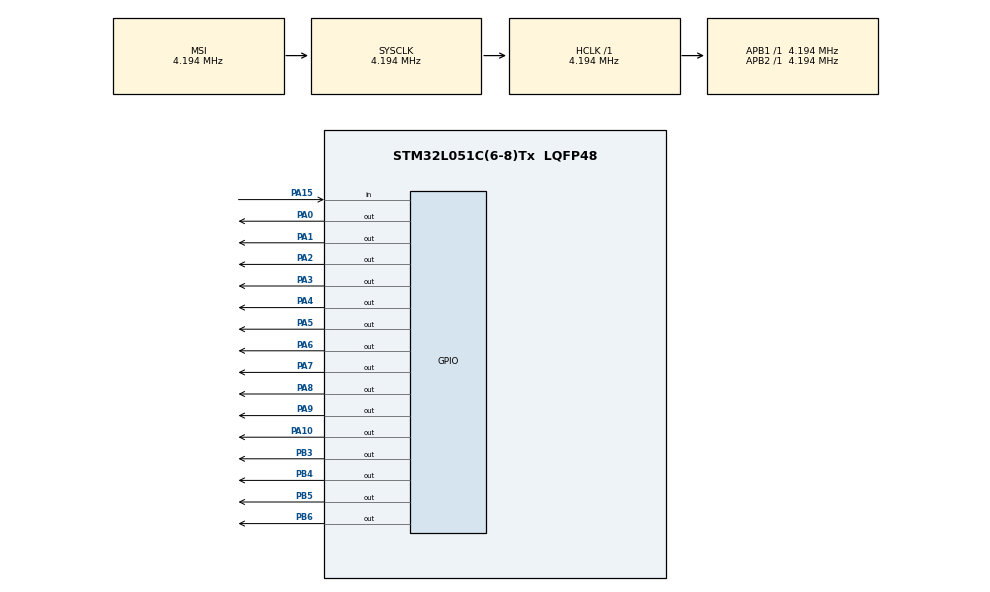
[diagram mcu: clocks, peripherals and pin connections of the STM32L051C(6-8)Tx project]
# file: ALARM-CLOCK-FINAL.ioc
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Mcu.Family=STM32L0
Mcu.Name=STM32L051C(6-8)Tx
Mcu.Package=LQFP48
PA0.Signal=GPIO_Output
PA1.Signal=GPIO_Output
PA10.Signal=GPIO_Output
PA13.Mode=Serial_Wire
PA13.Signal=SYS_SWDIO
PA14.Mode=Serial_Wire
PA14.Signal=SYS_SWCLK
PA15.GPIO_PuPd=GPIO_NOPULL
PA15.Signal=GPIO_Input
PA2.Signal=GPIO_Output
PA3.Signal=GPIO_Output
PA4.Signal=GPIO_Output
PA5.Signal=GPIO_Output
PA6.Signal=GPIO_Output
PA7.Signal=GPIO_Output
PA8.Signal=GPIO_Output
PA9.Signal=GPIO_Output
PB3.Signal=GPIO_Output
PB4.Signal=GPIO_Output
PB5.Signal=GPIO_Output
PB6.Signal=GPIO_Output
PC14-OSC32_IN.Mode=LSE-External-Oscillator
PC14-OSC32_IN.Signal=RCC_OSC32_IN
PC15-OSC32_OUT.Mode=LSE-External-Oscillator
PC15-OSC32_OUT.Signal=RCC_OSC32_OUT
ProjectManager.HeapSize=0x200
ProjectManager.StackSize=0x400
ProjectManager.TargetToolchain=STM32CubeIDE
RCC.AHBFreq_Value=4194000
RCC.APB1Freq_Value=4194000
RCC.APB1TimFreq_Value=4194000
RCC.APB2Freq_Value=4194000
RCC.APB2TimFreq_Value=4194000
RCC.HCLKFreq_Value=4194000
RCC.HSE_VALUE=8000000
RCC.HSI16_VALUE=16000000
RCC.HSI_VALUE=16000000
RCC.MSIClockRange=RCC_MSIRANGE_6
RCC.MSI_VALUE=4194000
RCC.RTCClockSelection=RCC_RTCCLKSOURCE_LSE
RCC.SYSCLKFreq_VALUE=4194000
RCC.VCOOutputFreq_Value=48000000
VP_RTC_VS_RTC_Activate.Mode=RTC_Enabled
board=custom

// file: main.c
/* USER CODE BEGIN Header */
/**
  ******************************************************************************
  * @file           : main.c
  * @brief          : Alarm Clock
  * @version		: 1.09
  * @author			: Tim White
  * @date			: 2022-03-19
  ******************************************************************************
  * @attention
  *
  * Copyright (c) 2022 STMicroelectronics.
  * All rights reserved.
  *
  * This software is licensed under terms that can be found in the LICENSE file
  * in the root directory of this software component.
  * If no LICENSE file comes with this software, it is provided AS-IS.
  *
  ******************************************************************************
  */

/* USER CODE END Header */
#include "main.h"

 RTC_HandleTypeDef hrtc;

void SystemClock_Config(void);
static void MX_GPIO_Init(void);
static void MX_RTC_Init(void);
/* USER CODE BEGIN PFP */
void main_menu();
void set_time();
/* USER CODE END PFP */

int main(void)
{
  /* USER CODE BEGIN 1 */
	RTC_TimeTypeDef currentTime;  	// Get time structure
	RTC_DateTypeDef currentDate;   	// Get date structure

	unsigned int decimal_numbers[10] = {
			0b00001100, // 0
			0b10001100, // 1
			0b01001100, // 2
			0b11001100, // 3
			0b00101100, // 4
			0b10101100, // 5
			0b01101100, // 6
			0b11101100, // 7
			0b00011100, // 8
			0b10011100  // 9
	};
	unsigned int hacky_hex[60] = {
			0x00,0x01,0x02,0x03,0x04,0x05,0x06,0x07,0x08,0x09,
			0x10,0x11,0x12,0x13,0x14,0x15,0x16,0x17,0x18,0x19,
			0x20,0x21,0x22,0x23,0x24,0x25,0x26,0x27,0x28,0x29,
			0x30,0x31,0x32,0x33,0x34,0x35,0x36,0x37,0x38,0x39,
			0x40,0x41,0x42,0x43,0x44,0x45,0x46,0x47,0x48,0x49,
			0x50,0x51,0x52,0x53,0x54,0x55,0x56,0x57,0x58,0x59
	};

	unsigned int btn_pressed=0;
	unsigned int byte=0;
	unsigned int prev_byte=0;

	int rem=0;
	int digit_count=0;
	int mu=0;
	int num2=0;

	int current_hours=0;
	int current_minutes=0;
	int current_seconds=0;
	int last_seconds=0;

	int menu_text=0;
	int scroll_y_index=0;
	int scroll_x_index=0;

	int hour_digit1=0;
	int hour_digit2=0;
	int minute_digit1=0;
	int minute_digit2=0;

	int alarm_hour=0;
	int alarm_minutes=0;

	int snoozed=0;
	int alarming=0;
	int mode;
  /* USER CODE END 1 */

  /* MCU Configuration--------------------------------------------------------*/

  /* Reset of all peripherals, Initializes the Flash interface and the Systick. */
  HAL_Init();

  /* Configure the system clock */
  SystemClock_Config();

  /* Initialize all configured peripherals */
  MX_GPIO_Init();
  MX_RTC_Init();
  /* USER CODE BEGIN 2 */

  /**********************************************************/
  // Display functions:
  //	- Write(char i): Stage write data
  //	- Command(char i): Stage write command
  //	- Set_Position(char i): Goto display location
  //	- Init_Display(): Wake, function set, cursor, clear
  //	- Send(): Send data or command from GPIOA
  //	- Clear_Home(): Clear display and goto home position

  unsigned char reverse(unsigned char x) {
	  // Reverse incoming char b
	  // example: 1100 -> 0011
     x = (x & 0xF0) >> 4 | (x & 0x0F) << 4;
     x = (x & 0xCC) >> 2 | (x & 0x33) << 2;
     x = (x & 0xAA) >> 1 | (x & 0x55) << 1;
     return x;
  }

  void send()
  {
	  // Falling-edge triggered Display control
	  HAL_GPIO_WritePin(GPIOA, GPIO_PIN_8, 1); // Enable pin
	  HAL_GPIO_WritePin(GPIOA, GPIO_PIN_8, 0); // Clock enable: falling edge
	  HAL_Delay(5);
  }

  void write(char i)
  {
	  // Set write mode, load char i into GPIOA pins, send.
	  GPIOA->ODR = 0x00; // Clear GPIOA
	  mode=0x400; // Write Data Mode
	  GPIOA->ODR = i | mode;
	  send();
  }

  void command(char i)
  {
	  // Set command mode & write mode, load char i into GPIOA pins, send.
	  mode=0x000; // Write Command Mode
	  GPIOA->ODR = i | mode;
	  send();
  }

  void set_position(char i)
  {
	i = reverse(i);
	command(0b00000001|i);

	/* Driver function to test above function */
  }

  void init_display()
  {
	command(0b00110000); // wake display
	command(0b00110000); // wake display
	command(0b00110000); // wake display
	HAL_Delay(100);
	command(0b00111100); // function set 8-bit, 2-line
	command(0b10000000); // clear Display
	command(0b01000000); // Return home
	write(0b10000010);
  }

  void clear_home(){
	command(0x80); // clear display
	command(0x40); // return home
  }

  /**********************************************************/
  // Conversion functions:
  //	- write_binary_to_decimal(int num):
  //		Lookup function for each decimal digit of num.

  void write_binary_to_decimal(int num){
	if(num==0){
		write(decimal_numbers[0]);
		return;
	}
	rem=0;			// Remainder after division by current multiplier. E.g. 2345{number} / 100{multiplier} = 234{rem}
	digit_count=0; 	// Total decimal digits in num
	mu=0;			// Current multiplier (assuming decimal base 10)
	num2=num;		//	Buffer of num used to find digit_count.

	// Solve for digit_count
	while (num2 > 0)
	{
		digit_count=digit_count+1;
		num2 /= 10;
	}

	// write decimal_number corresponding to each digit, MSB to LSB
	while (digit_count>0)
	{
		// For last digit in num, write that digit
		if(digit_count==1){
			write(decimal_numbers[num]);
		}
		// otherwise, write each digit
		else
		{
			mu = 10;
			for (int i = 1; i < digit_count-1; ++i){ mu *= 10; }
			rem = num / mu;
			num -= rem * mu; // decrement num by MSB;
			write(decimal_numbers[rem]);
		}
		digit_count-=1;
	}
  }

  /**********************************************************/
  // Update functions:
  //	- Process_Inputs()
  //	- Update_Display()
  //	- Update_Time()

  int process_inputs(){

	// For reference - Button IDs: OK=0, BK=1, D=2, L=3, R=4, U=5, NOTHING=6
	byte=0;
	prev_byte=6;
	btn_pressed=0;

	while(1) {
		byte=0;
		btn_pressed=0;

		// Parallel load sequence, trigger serial receive
		HAL_GPIO_WritePin(GPIOB, GPIO_PIN_3,  1); // CE
		HAL_GPIO_WritePin(GPIOB, GPIO_PIN_5,  1); // PL
		HAL_GPIO_WritePin(GPIOB, GPIO_PIN_5,  0); // PL
		HAL_GPIO_WritePin(GPIOB, GPIO_PIN_5,  1); // PL
		HAL_GPIO_WritePin(GPIOB, GPIO_PIN_3,  0); // CE
		HAL_GPIO_WritePin(GPIOB, GPIO_PIN_4,  0); // CP
		HAL_GPIO_WritePin(GPIOB, GPIO_PIN_4,  1); // CP

		// Buffer all incoming bits into Byte
		for(int i=0; i<8; i++){
			HAL_GPIO_WritePin(GPIOB, GPIO_PIN_4, 0); // CP
			HAL_Delay(5);
			HAL_GPIO_WritePin(GPIOB, GPIO_PIN_4, 1); // CP
			HAL_Delay(5);
			byte = (byte | ((HAL_GPIO_ReadPin(GPIOA, GPIO_PIN_15)) << i)); // Store all bits in a buffer
			if(HAL_GPIO_ReadPin(GPIOA, GPIO_PIN_15)==0) {
				btn_pressed=i;
				i=8;
			}
			HAL_Delay(5);
		}

		if(btn_pressed==6 && prev_byte!=6) {
			return prev_byte;
		}
		else if(btn_pressed==6) {
			return btn_pressed;
		}
		else {
			prev_byte=btn_pressed;
		}

	}

  }

  void update_display(int secs)
  {
	// Write Hours with conditional leading zeros
	if (current_hours==0){
		write(decimal_numbers[0]); // 0
		write(decimal_numbers[0]); // 0
	} else if(current_hours<10) {
		write(decimal_numbers[0]); // 0
		write_binary_to_decimal(current_hours);
	} else { write_binary_to_decimal(current_hours); }

	write(0b01011100); // Write : separator

	// Write Minutes
	if (current_minutes==0) {
		write(decimal_numbers[0]); // 0
		write(decimal_numbers[0]); // 0

	} else if(current_minutes<10){
		write(decimal_numbers[0]); // 0

		write_binary_to_decimal(current_minutes);
	} else { write_binary_to_decimal(current_minutes); }

	// Write Seconds if secs==1; This Secs variable is used to "ignore" seconds in Time set and Alarm set menus.
	if(secs==1){
		write(0b01011100); // :
		if (current_seconds==0) {
			write(decimal_numbers[0]); // 0
			write(decimal_numbers[0]); // 0
		} else if(current_seconds<10){
			write(decimal_numbers[0]); // 0
			write_binary_to_decimal(current_seconds);
		} else { write_binary_to_decimal(current_seconds); }
	}
  }

  void update_time(){
	HAL_RTC_GetTime(&hrtc, &currentTime, RTC_FORMAT_BIN);//Get time
	HAL_RTC_GetDate(&hrtc, &currentDate, RTC_FORMAT_BIN);//get date
	current_hours=currentTime.Hours;
	current_minutes=currentTime.Minutes;
	current_seconds=currentTime.Seconds;
  }

  /**********************************************************/
  // User Interface functions:
  //	- Get_User_Input_Time()
  //	- Set_Time() submenu
  //	- Set_Alarm() submenu
  //	- Main_Menu() menu

  int get_user_input_time()
  {
	scroll_x_index=0;

	// Buffer each digit of hour & minutes
	if (current_hours==0){
		hour_digit1=0;
		hour_digit2=0;
	} else if(current_hours<10) {
		hour_digit1=0;
		hour_digit2=current_hours;
	} else {
		hour_digit1=current_hours/10;
		hour_digit2=current_hours%10;
	}
	if (current_minutes==0){
		minute_digit1=0;
		minute_digit2=0;
	} else if(current_minutes<10) {
		minute_digit1=0;
		minute_digit2=current_minutes;
	} else {
		minute_digit1=current_minutes/10;
		minute_digit2=current_minutes%10;
	}

	while(btn_pressed!=13) { // While BACK button not pressed; arbitrary integer "13" chosen as a de-bounce for back button when returning from sub-menus

		// Blink active digit
		if(current_seconds % 2==0){
			set_position(0x40);
			write_binary_to_decimal(hour_digit1);
			write_binary_to_decimal(hour_digit2);
			write(0b01011100); // :
			write_binary_to_decimal(minute_digit1);
			write_binary_to_decimal(minute_digit2);
		}
		else{
			set_position(0x40 + scroll_x_index); // Go to position of current digit
			write(0b10000001);
		}

		update_time();

		switch(process_inputs()) {
			case 1: { // Back pressed
				btn_pressed=13;
				break;
			}
			case 0: { // OK pressed

				return 1;
				break;
			}
			case 4: { // Right pressed; add to scroll X index with limits
				if(scroll_x_index<4){
					if(scroll_x_index+1==2){scroll_x_index+=1;}
					scroll_x_index+=1;
				}
				break;
			}
			case 3: { // Left pressed; subtract from scroll X index with limits
				if(scroll_x_index>0){
					if(scroll_x_index-1==2){scroll_x_index-=1;}
					scroll_x_index-=1;
				}
				break;
			}
			case 2: { // DOWN pressed
				switch(scroll_x_index) {
					case 0: {
						// Decrement if > 0
						if(hour_digit1>0){ hour_digit1-=1; }
						break;
					}
					case 1: {
						// Decrement if > 0
						if(hour_digit2>0){ hour_digit2-=1; }
						break;
					}
					// Skip index 2 - ":" character
					case 3: {
						// Decrement if > 0
						if(minute_digit1>0){ minute_digit1-=1; }
						break;
					}
					case 4: {
						// Decrement if > 0
						if(minute_digit2>0){minute_digit2-=1; }
						break;
					}
				}
				break;
			}
			case 5: { // UP pressed
				switch(scroll_x_index) {
					case 0: {
						// MSB Hour increment IFF <2
						if(hour_digit1<2){ hour_digit1+=1; }
						if(hour_digit1==2 && hour_digit2>3){ hour_digit2=3; }
						break;
					}
					case 1: {
						// LSB Hour increment up to 9 if MSB < 2, up to 4 if MSB==2
						if(hour_digit1<2 && hour_digit2<9) { hour_digit2+=1; }
						else if(hour_digit1==2 && hour_digit2<3) { hour_digit2+=1; }
						break;
					}
					case 3: {
						// MSB Minute increment IFF <5
						if(minute_digit1<5){ minute_digit1+=1;}
						break;
					}
					case 4: {
						// MSB Minute increment IFF <9
						if(minute_digit2<9){ minute_digit2+=1;}
						break;
					}
				}
				break;
			}
		}
	}
	return 0;
  }

  void set_time()
  {
	clear_home();
	write(0b11001010); // S
	write(0b10100010); // E
	write(0b00101010); // T
	write(0b10000001); // space
	write(0b00101010); // T
	write(0b10010010); // I
	write(0b10110010); // M
	write(0b10100010); // E
	set_position(0x40);
	update_display(0);
	if(get_user_input_time()==1)
	{
		currentTime.Hours = hacky_hex[(10*hour_digit1)+hour_digit2];
		currentTime.Minutes = hacky_hex[(10*minute_digit1)+minute_digit2];
		currentTime.Seconds = 0x00;
		currentTime.TimeFormat= RTC_HOURFORMAT12_PM;
		currentTime.DayLightSaving=RTC_DAYLIGHTSAVING_NONE;
		currentTime.StoreOperation=RTC_STOREOPERATION_RESET;
		HAL_RTC_SetTime(&hrtc, &currentTime, RTC_FORMAT_BCD);
		clear_home();
		write(0b00101010); // T
		write(0b10010010); // I
		write(0b10110010); // M
		write(0b10100010); // E
		write(0b10000001); // space
		write(0b11001010); // S
		write(0b10100010); // E
		write(0b00101010); // T
		write(0b10000100); // !
		HAL_Delay(1000);
	}
	clear_home();
  }

  void set_alarm()
  {
	clear_home();
	write(0b11001010); // S
	write(0b10100010); // E
	write(0b00101010); // T
	write(0b10000001); // space
	write(0b10000010); // A
	write(0b00110010); // L
	write(0b10000010); // A
	write(0b01001010); // R
	write(0b10110010); // M
	set_position(0x40);
	if(get_user_input_time()==1)
	{
		alarm_hour = (10*hour_digit1)+hour_digit2;
		alarm_minutes = (10*minute_digit1)+minute_digit2;
		clear_home();
		write(0b10000010); // A
		write(0b00110010); // L
		write(0b10000010); // A
		write(0b01001010); // R
		write(0b10110010); // M
		write(0b10000001); // space
		write(0b11001010); // S
		write(0b10100010); // E
		write(0b00101010); // T
		write(0b10000100); // !
		HAL_Delay(1000);
	}
	clear_home();
  }

  void main_menu(){
	while(btn_pressed!=10) {
		if(menu_text!=1){
			clear_home();
			write(0b10110010); // M
			write(0b10000010); // A
			write(0b10010010); // I
			write(0b01110010); // N
			write(0b10000001); // space
			write(0b10110010); // M
			write(0b10100010); // E
			write(0b10110010); // N
			write(0b10101010); // U
			set_position(0x40);

			switch(scroll_y_index) {
				case 0: {
					write_binary_to_decimal(scroll_y_index+1);
					write(0b01110100); // .
					write(0b10000001); // space
					write(0b11001010); // S
					write(0b10100010); // E
					write(0b00101010); // T
					write(0b10000001); // space
					write(0b00101010); // T
					write(0b10010010); // I
					write(0b10110010); // M
					write(0b10100010); // E
					break;
				}
				case 1: {
					write_binary_to_decimal(scroll_y_index+1);
					write(0b01110100); // .
					write(0b10000001); // space
					write(0b11001010); // S
					write(0b10100010); // E
					write(0b00101010); // T
					write(0b10000001); // space
					write(0b10000010); // A
					write(0b00110010); // L
					write(0b10000010); // A
					write(0b01001010); // R
					write(0b10110010); // M
					break;
				}
			}
			set_position(0x4F);
			write(0b01111110);
			menu_text=1;
		}
		switch(process_inputs()) {
			case 1: {
				menu_text=0;
				btn_pressed=10;
				break;
			}
			case 0: {
				menu_text=0;
				switch(scroll_y_index) {
					case 0: {
						scroll_y_index=0;
						set_time();
						break;
					}
					case 1: {
						scroll_y_index=0;
						set_alarm();
						break;
					}
				}

				break;
			}
			case 3: {
				menu_text=0;
				break;
			}
			case 4: {
				menu_text=0;
				break;
			}
			case 2: {
				menu_text=0;
				if(scroll_y_index<1)
				{
					scroll_y_index=scroll_y_index+1;
				}
				break;
			}
			case 5: {
				menu_text=0;
				if(scroll_y_index>0)
				{
					scroll_y_index=scroll_y_index-1;
				}
				break;
			}
		}
	}
	clear_home();
  }

  init_display();

  /* USER CODE END 2 */

  /* Infinite loop */
  /* USER CODE BEGIN WHILE */
  while (1)
  {

	// Get user inputs
	switch(process_inputs()) {
		case 0: {
			// "OK"/menu button pressed
			main_menu();
			break;
		}
		case 1: {
			// "Back" button pressed - only used to disable during alarm
			// Disable alarm with Back button (ideally this will be a separate snooze/stop button)
			if(alarming==1)
			{
				alarming=0;
				snoozed=0;
				set_position(0x40);
				write(0b11001010); // S
				write(0b00101010); // T
				write(0b11110010); // O
				write(0b00001010); // P
				write(0b00001010); // P
				write(0b10100010); // E
				write(0b00100010); // D
				write(0b10000001); // space
				HAL_Delay(1000);
			}
			break;
		}
		case 5: {
			// "Up" button pressed - only used to snooze during alarm
			// Snooze
			if(alarming==1)
			{
				alarming=0;
				snoozed+=1;
				set_position(0x40);
				write(0b11001010); // S
				write(0b01110010); // N
				write(0b11110010); // O
				write(0b11110010); // O
				write(0b01011010); // Z
				write(0b10100010); // E
				write(0b00100010); // D
				write(0b10000001); // space
				write(0b10000001); // space
				write(0b10000001); // space
				write(0b10000001); // space
				HAL_Delay(1000);
			}
		}
	}

	update_time();

	// Set Alarming active upon alarm conditions
	// - Compares current time to user-set alarm time
	// - Adds 5-minutes to alarm-time for every time snooze is pressed
	// - Allows a 3-second buffer to ensure Main loop isn't stuck between second intervals (Total loop time can exceed 1 second)
	if( (current_hours==alarm_hour) & (current_minutes==alarm_minutes+(5*snoozed)) & (current_seconds<3))
	{
		alarming=1;
	}

	// If alarming, bit-bang square wave to Buzzer; note: no button interrupts, so relying on slight button-hold to capture button-press outside of this loop
	// To-do: Replace loop with Threading or use button interrupts (challenging with shift register)
	if(alarming==1) {
		for(int k=0; k<200; k++){
			HAL_GPIO_WritePin(GPIOB, GPIO_PIN_6, 0);
			HAL_Delay(0.9);
			HAL_GPIO_WritePin(GPIOB, GPIO_PIN_6, 1);
			HAL_Delay(0.9);
		}
	}

	// Update display once per second
	if (current_seconds != last_seconds) {
		clear_home();
		update_display(1);
	}
	last_seconds = current_seconds;

    /* USER CODE END WHILE */

  }
}

void SystemClock_Config(void)
{
  RCC_OscInitTypeDef RCC_OscInitStruct = {0};
  RCC_ClkInitTypeDef RCC_ClkInitStruct = {0};
  RCC_PeriphCLKInitTypeDef PeriphClkInit = {0};

  /** Configure the main internal regulator output voltage
  */
  __HAL_PWR_VOLTAGESCALING_CONFIG(PWR_REGULATOR_VOLTAGE_SCALE1);

  /** Configure LSE Drive Capability
  */
  HAL_PWR_EnableBkUpAccess();
  __HAL_RCC_LSEDRIVE_CONFIG(RCC_LSEDRIVE_LOW);

  /** Initializes the RCC Oscillators according to the specified parameters
  * in the RCC_OscInitTypeDef structure.
  */
  RCC_OscInitStruct.OscillatorType = RCC_OSCILLATORTYPE_LSE|RCC_OSCILLATORTYPE_MSI;
  RCC_OscInitStruct.LSEState = RCC_LSE_ON;
  RCC_OscInitStruct.MSIState = RCC_MSI_ON;
  RCC_OscInitStruct.MSICalibrationValue = 0;
  RCC_OscInitStruct.MSIClockRange = RCC_MSIRANGE_6;
  RCC_OscInitStruct.PLL.PLLState = RCC_PLL_NONE;
  if (HAL_RCC_OscConfig(&RCC_OscInitStruct) != HAL_OK)
  {
    Error_Handler();
  }

  /** Initializes the CPU, AHB and APB buses clocks
  */
  RCC_ClkInitStruct.ClockType = RCC_CLOCKTYPE_HCLK|RCC_CLOCKTYPE_SYSCLK
                              |RCC_CLOCKTYPE_PCLK1|RCC_CLOCKTYPE_PCLK2;
  RCC_ClkInitStruct.SYSCLKSource = RCC_SYSCLKSOURCE_MSI;
  RCC_ClkInitStruct.AHBCLKDivider = RCC_SYSCLK_DIV1;
  RCC_ClkInitStruct.APB1CLKDivider = RCC_HCLK_DIV1;
  RCC_ClkInitStruct.APB2CLKDivider = RCC_HCLK_DIV1;

  if (HAL_RCC_ClockConfig(&RCC_ClkInitStruct, FLASH_LATENCY_0) != HAL_OK)
  {
    Error_Handler();
  }
  PeriphClkInit.PeriphClockSelection = RCC_PERIPHCLK_RTC;
  PeriphClkInit.RTCClockSelection = RCC_RTCCLKSOURCE_LSE;
  if (HAL_RCCEx_PeriphCLKConfig(&PeriphClkInit) != HAL_OK)
  {
    Error_Handler();
  }
}

static void MX_RTC_Init(void)
{

  /** Initialize RTC Only
  */
  hrtc.Instance = RTC;
  hrtc.Init.HourFormat = RTC_HOURFORMAT_24;
  hrtc.Init.AsynchPrediv = 127;
  hrtc.Init.SynchPrediv = 255;
  hrtc.Init.OutPut = RTC_OUTPUT_DISABLE;
  hrtc.Init.OutPutRemap = RTC_OUTPUT_REMAP_NONE;
  hrtc.Init.OutPutPolarity = RTC_OUTPUT_POLARITY_HIGH;
  hrtc.Init.OutPutType = RTC_OUTPUT_TYPE_OPENDRAIN;
  if (HAL_RTC_Init(&hrtc) != HAL_OK)
  {
    Error_Handler();
  }

}

static void MX_GPIO_Init(void)
{
  GPIO_InitTypeDef GPIO_InitStruct = {0};

  /* GPIO Ports Clock Enable */
  __HAL_RCC_GPIOC_CLK_ENABLE();
  __HAL_RCC_GPIOA_CLK_ENABLE();
  __HAL_RCC_GPIOB_CLK_ENABLE();

  /*Configure GPIO pin Output Level */
  HAL_GPIO_WritePin(GPIOA, GPIO_PIN_0|GPIO_PIN_1|GPIO_PIN_2|GPIO_PIN_3
                          |GPIO_PIN_4|GPIO_PIN_5|GPIO_PIN_6|GPIO_PIN_7
                          |GPIO_PIN_8|GPIO_PIN_9|GPIO_PIN_10, GPIO_PIN_RESET);

  /*Configure GPIO pin Output Level */
  HAL_GPIO_WritePin(GPIOB, GPIO_PIN_3|GPIO_PIN_4|GPIO_PIN_5|GPIO_PIN_6, GPIO_PIN_RESET);

  /*Configure GPIO pins : PA0 PA1 PA2 PA3
                           PA4 PA5 PA6 PA7
                           PA8 PA9 PA10 */
  GPIO_InitStruct.Pin = GPIO_PIN_0|GPIO_PIN_1|GPIO_PIN_2|GPIO_PIN_3
                          |GPIO_PIN_4|GPIO_PIN_5|GPIO_PIN_6|GPIO_PIN_7
                          |GPIO_PIN_8|GPIO_PIN_9|GPIO_PIN_10;
  GPIO_InitStruct.Mode = GPIO_MODE_OUTPUT_PP;
  GPIO_InitStruct.Pull = GPIO_NOPULL;
  GPIO_InitStruct.Speed = GPIO_SPEED_FREQ_LOW;
  HAL_GPIO_Init(GPIOA, &GPIO_InitStruct);

  /*Configure GPIO pin : PA15 */
  GPIO_InitStruct.Pin = GPIO_PIN_15;
  GPIO_InitStruct.Mode = GPIO_MODE_INPUT;
  GPIO_InitStruct.Pull = GPIO_NOPULL;
  HAL_GPIO_Init(GPIOA, &GPIO_InitStruct);

  /*Configure GPIO pins : PB3 PB4 PB5 PB6 */
  GPIO_InitStruct.Pin = GPIO_PIN_3|GPIO_PIN_4|GPIO_PIN_5|GPIO_PIN_6;
  GPIO_InitStruct.Mode = GPIO_MODE_OUTPUT_PP;
  GPIO_InitStruct.Pull = GPIO_NOPULL;
  GPIO_InitStruct.Speed = GPIO_SPEED_FREQ_LOW;
  HAL_GPIO_Init(GPIOB, &GPIO_InitStruct);

}

void Error_Handler(void)
{
  __disable_irq();
  while (1)
  {
  }
}
